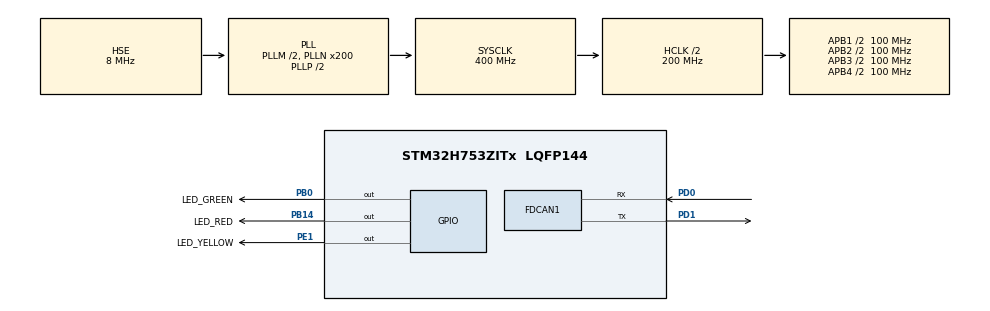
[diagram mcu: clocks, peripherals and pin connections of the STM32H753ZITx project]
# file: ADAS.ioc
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CORTEX_M7.CPU_DCache=Enabled
CORTEX_M7.CPU_ICache=Enabled
CORTEX_M7.default_mode_Activation=1
FDCAN1.AutoRetransmission=ENABLE
FDCAN1.CalculateBaudRateNominal=500000
FDCAN1.CalculateTimeBitNominal=2000
FDCAN1.CalculateTimeQuantumNominal=100.0
FDCAN1.DataPrescaler=2
FDCAN1.DataSyncJumpWidth=5
FDCAN1.DataTimeSeg1=7
FDCAN1.DataTimeSeg2=2
FDCAN1.FrameFormat=FDCAN_FRAME_FD_BRS
FDCAN1.Mode=FDCAN_MODE_NORMAL
FDCAN1.NominalPrescaler=10
FDCAN1.NominalTimeSeg1=15
FDCAN1.NominalTimeSeg2=4
FDCAN1.RxFifo0ElmtSize=FDCAN_DATA_BYTES_64
FDCAN1.RxFifo0ElmtsNbr=4
FDCAN1.StdFiltersNbr=1
FDCAN1.TxElmtSize=FDCAN_DATA_BYTES_64
FDCAN1.TxFifoQueueElmtsNbr=4
FREERTOS.Tasks01=ControlLoopTask,24,512,StartControlLoopTask,Default,NULL,Dynamic,NULL,NULL
FREERTOS.configTOTAL_HEAP_SIZE=65536
Mcu.Family=STM32H7
Mcu.Name=STM32H753ZITx
Mcu.Package=LQFP144
NVIC.PriorityGroup=NVIC_PRIORITYGROUP_4
NVIC.TIM6_DAC_IRQn=true\:15\:0\:false\:false\:true\:false\:false\:true\:true
NVIC.TimeBase=TIM6_DAC_IRQn
NVIC.TimeBaseIP=TIM6
PA13\ (JTMS/SWDIO).Mode=Serial_Wire
PA13\ (JTMS/SWDIO).Signal=DEBUG_JTMS-SWDIO
PA14\ (JTCK/SWCLK).Mode=Serial_Wire
PA14\ (JTCK/SWCLK).Signal=DEBUG_JTCK-SWCLK
PB0.GPIO_Label=LED_GREEN
PB0.Signal=GPIO_Output
PB14.GPIO_Label=LED_RED
PB14.Signal=GPIO_Output
PD0.Mode=FDCAN_Activate
PD0.Signal=FDCAN1_RX
PD1.Mode=FDCAN_Activate
PD1.Signal=FDCAN1_TX
PE1.GPIO_Label=LED_YELLOW
PE1.Signal=GPIO_Output
PH0-OSC_IN\ (PH0).Mode=HSE-External-Clock-Source
PH0-OSC_IN\ (PH0).Signal=RCC_OSC_IN
ProjectManager.HeapSize=0x200
ProjectManager.StackSize=0x400
ProjectManager.TargetToolchain=STM32CubeIDE
RCC.ADCFreq_Value=16125000
RCC.APB1Freq_Value=100000000
RCC.APB2Freq_Value=100000000
RCC.APB3Freq_Value=100000000
RCC.APB4Freq_Value=100000000
RCC.CortexFreq_Value=400000000
RCC.D1PPRE=RCC_APB3_DIV2
RCC.D2PPRE1=RCC_APB1_DIV2
RCC.D2PPRE2=RCC_APB2_DIV2
RCC.D3PPRE=RCC_APB4_DIV2
RCC.DIVM1=2
RCC.DIVN1=200
RCC.DIVQ1=8
RCC.HCLKFreq_Value=200000000
RCC.HPRE=RCC_HCLK_DIV2
RCC.HSE_VALUE=8000000
RCC.PLLFRACN=0
RCC.PLLSourceVirtual=RCC_PLLSOURCE_HSE
RCC.SYSCLKFreq_VALUE=400000000
RCC.SYSCLKSource=RCC_SYSCLKSOURCE_PLLCLK
RCC.Tim1Mul=2
RCC.USBFreq_Value=100000000
VP_FREERTOS_VS_CMSIS_V2.Mode=CMSIS_V2
VP_MEMORYMAP_VS_MEMORYMAP.Mode=CurAppReg
VP_SYS_VS_tim6.Mode=TIM6
board=custom

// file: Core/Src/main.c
/* USER CODE BEGIN Header */
/**
  ******************************************************************************
  * @file           : main.c
  * @brief          : Main program body
  ******************************************************************************
  * @attention
  *
  * Copyright (c) 2026 STMicroelectronics.
  * All rights reserved.
  *
  * This software is licensed under terms that can be found in the LICENSE file
  * in the root directory of this software component.
  * If no LICENSE file comes with this software, it is provided AS-IS.
  *
  ******************************************************************************
  */
/* USER CODE END Header */
#include "main.h"
#include "cmsis_os.h"
#include "fdcan.h"
#include "gpio.h"

void SystemClock_Config(void);
static void MPU_Config(void);
void MX_FREERTOS_Init(void);

int main(void)
{

  /* MPU Configuration--------------------------------------------------------*/
  MPU_Config();

  /* Enable the CPU Cache */

  /* Enable I-Cache---------------------------------------------------------*/
  SCB_EnableICache();

  /* Enable D-Cache---------------------------------------------------------*/
  SCB_EnableDCache();

  /* MCU Configuration--------------------------------------------------------*/

  /* Reset of all peripherals, Initializes the Flash interface and the Systick. */
  HAL_Init();

  /* Configure the system clock */
  SystemClock_Config();

  /* Initialize all configured peripherals */
  MX_GPIO_Init();
  MX_FDCAN1_Init();

  /* Init scheduler */
  osKernelInitialize();  /* Call init function for freertos objects (in cmsis_os2.c) */
  MX_FREERTOS_Init();

  /* Start scheduler */
  osKernelStart();

  /* We should never get here as control is now taken by the scheduler */

  /* Infinite loop */
  while (1)
  {

  }
}

void SystemClock_Config(void)
{
  RCC_OscInitTypeDef RCC_OscInitStruct = {0};
  RCC_ClkInitTypeDef RCC_ClkInitStruct = {0};

  /** Supply configuration update enable
  */
  HAL_PWREx_ConfigSupply(PWR_LDO_SUPPLY);

  /** Configure the main internal regulator output voltage
  */
  __HAL_PWR_VOLTAGESCALING_CONFIG(PWR_REGULATOR_VOLTAGE_SCALE1);

  while(!__HAL_PWR_GET_FLAG(PWR_FLAG_VOSRDY)) {}

  /** Initializes the RCC Oscillators according to the specified parameters
  * in the RCC_OscInitTypeDef structure.
  */
  RCC_OscInitStruct.OscillatorType = RCC_OSCILLATORTYPE_HSE;
  RCC_OscInitStruct.HSEState = RCC_HSE_BYPASS;
  RCC_OscInitStruct.PLL.PLLState = RCC_PLL_ON;
  RCC_OscInitStruct.PLL.PLLSource = RCC_PLLSOURCE_HSE;
  RCC_OscInitStruct.PLL.PLLM = 2;
  RCC_OscInitStruct.PLL.PLLN = 200;
  RCC_OscInitStruct.PLL.PLLP = 2;
  RCC_OscInitStruct.PLL.PLLQ = 8;
  RCC_OscInitStruct.PLL.PLLR = 2;
  RCC_OscInitStruct.PLL.PLLRGE = RCC_PLL1VCIRANGE_2;
  RCC_OscInitStruct.PLL.PLLVCOSEL = RCC_PLL1VCOWIDE;
  RCC_OscInitStruct.PLL.PLLFRACN = 0;
  if (HAL_RCC_OscConfig(&RCC_OscInitStruct) != HAL_OK)
  {
    Error_Handler();
  }

  /** Initializes the CPU, AHB and APB buses clocks
  */
  RCC_ClkInitStruct.ClockType = RCC_CLOCKTYPE_HCLK|RCC_CLOCKTYPE_SYSCLK
                              |RCC_CLOCKTYPE_PCLK1|RCC_CLOCKTYPE_PCLK2
                              |RCC_CLOCKTYPE_D3PCLK1|RCC_CLOCKTYPE_D1PCLK1;
  RCC_ClkInitStruct.SYSCLKSource = RCC_SYSCLKSOURCE_PLLCLK;
  RCC_ClkInitStruct.SYSCLKDivider = RCC_SYSCLK_DIV1;
  RCC_ClkInitStruct.AHBCLKDivider = RCC_HCLK_DIV2;
  RCC_ClkInitStruct.APB3CLKDivider = RCC_APB3_DIV2;
  RCC_ClkInitStruct.APB1CLKDivider = RCC_APB1_DIV2;
  RCC_ClkInitStruct.APB2CLKDivider = RCC_APB2_DIV2;
  RCC_ClkInitStruct.APB4CLKDivider = RCC_APB4_DIV2;

  if (HAL_RCC_ClockConfig(&RCC_ClkInitStruct, FLASH_LATENCY_2) != HAL_OK)
  {
    Error_Handler();
  }
}

 /* MPU Configuration */

void MPU_Config(void)
{
  MPU_Region_InitTypeDef MPU_InitStruct = {0};

  /* Disables the MPU */
  HAL_MPU_Disable();

  /** Initializes and configures the Region and the memory to be protected
  */
  MPU_InitStruct.Enable = MPU_REGION_ENABLE;
  MPU_InitStruct.Number = MPU_REGION_NUMBER0;
  MPU_InitStruct.BaseAddress = 0x0;
  MPU_InitStruct.Size = MPU_REGION_SIZE_4GB;
  MPU_InitStruct.SubRegionDisable = 0x87;
  MPU_InitStruct.TypeExtField = MPU_TEX_LEVEL0;
  MPU_InitStruct.AccessPermission = MPU_REGION_NO_ACCESS;
  MPU_InitStruct.DisableExec = MPU_INSTRUCTION_ACCESS_DISABLE;
  MPU_InitStruct.IsShareable = MPU_ACCESS_SHAREABLE;
  MPU_InitStruct.IsCacheable = MPU_ACCESS_NOT_CACHEABLE;
  MPU_InitStruct.IsBufferable = MPU_ACCESS_NOT_BUFFERABLE;

  HAL_MPU_ConfigRegion(&MPU_InitStruct);
  /* Enables the MPU */
  HAL_MPU_Enable(MPU_PRIVILEGED_DEFAULT);

}

void HAL_TIM_PeriodElapsedCallback(TIM_HandleTypeDef *htim)
{
  if (htim->Instance == TIM6)
  {
    HAL_IncTick();
  }
}

void Error_Handler(void)
{
  /* USER CODE BEGIN Error_Handler_Debug */
  /* User can add his own implementation to report the HAL error return state */
  __disable_irq();
  HAL_GPIO_WritePin(LED_RED_GPIO_Port, LED_RED_Pin, GPIO_PIN_SET);
  while (1)
  {
  }
  /* USER CODE END Error_Handler_Debug */
}

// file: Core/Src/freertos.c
/* USER CODE BEGIN Header */
/**
 ******************************************************************************
 * File Name          : freertos.c
 * Description        : Code for freertos applications
 ******************************************************************************
 * @attention
 *
 * Copyright (c) 2026 STMicroelectronics.
 * All rights reserved.
 *
 * This software is licensed under terms that can be found in the LICENSE file
 * in the root directory of this software component.
 * If no LICENSE file comes with this software, it is provided AS-IS.
 *
 ******************************************************************************
 */
/* USER CODE END Header */

#include "FreeRTOS.h"
#include "task.h"
#include "main.h"
#include "cmsis_os.h"

/* USER CODE BEGIN Includes */
#include "fdcan.h"
#include "acc_controller.h"
#include <string.h>
/* USER CODE END Includes */

/* USER CODE BEGIN Variables */

/* Zmienne diagnostyczne czasu wykonania pętli RTOS (DWT WCET Profiling) */
volatile uint32_t g_ulControlLoopCounter = 0U;
volatile uint32_t g_ulLastExecutionCycles = 0U;
volatile uint32_t g_ulMaxExecutionCycles = 0U;

/* Bufory i liczniki diagnostyczne komunikacji CAN FD */
volatile uint8_t g_ucCanRxData[64] = { 0U };
volatile uint32_t g_ulCanRxFrameCounter = 0U;
volatile FDCAN_ProtocolStatusTypeDef g_sCanProtocolStatus = { 0 };
volatile FDCAN_ErrorCountersTypeDef g_sCanErrorCounters = { 0 };

/* Główne struktury wejść i wyjść regulatora ACC (obserwowane w Live Expressions) */
volatile AccInputs_t g_sAccInputs = { 10000U, 0, 2000U, 0U };
volatile AccOutputs_t g_sAccOutputs = { 35.0f, 0.0f, 0.0f, 0.0f, ACC_ZONE_SAFE };

/* USER CODE END Variables */
/* Definitions for ControlLoopTask */
osThreadId_t ControlLoopTaskHandle;
const osThreadAttr_t ControlLoopTask_attributes = { .name = "ControlLoopTask",
		.stack_size = 512 * 4, .priority = (osPriority_t) osPriorityNormal, };

/* USER CODE BEGIN FunctionPrototypes */

/**
 * @brief Funkcja warstwy sprzętowej (BSP/HAL) sterująca diodami LED na płytce Nucleo
 * @param eZone Aktualna strefa bezpieczeństwa wyznaczona przez regulator ACC
 */
static void ACC_UpdateLeds(AccZoneState_t eZone) {
	switch (eZone) {
	case ACC_ZONE_SAFE:
		HAL_GPIO_WritePin(LED_GREEN_GPIO_Port, LED_GREEN_Pin, GPIO_PIN_SET);
		HAL_GPIO_WritePin(LED_YELLOW_GPIO_Port, LED_YELLOW_Pin, GPIO_PIN_RESET);
		HAL_GPIO_WritePin(LED_RED_GPIO_Port, LED_RED_Pin, GPIO_PIN_RESET);
		break;

	case ACC_ZONE_WARNING:
		HAL_GPIO_WritePin(LED_GREEN_GPIO_Port, LED_GREEN_Pin, GPIO_PIN_RESET);
		HAL_GPIO_WritePin(LED_YELLOW_GPIO_Port, LED_YELLOW_Pin, GPIO_PIN_SET);
		HAL_GPIO_WritePin(LED_RED_GPIO_Port, LED_RED_Pin, GPIO_PIN_RESET);
		break;

	case ACC_ZONE_CRITICAL:
		HAL_GPIO_WritePin(LED_GREEN_GPIO_Port, LED_GREEN_Pin, GPIO_PIN_RESET);
		HAL_GPIO_WritePin(LED_YELLOW_GPIO_Port, LED_YELLOW_Pin, GPIO_PIN_RESET);
		HAL_GPIO_WritePin(LED_RED_GPIO_Port, LED_RED_Pin, GPIO_PIN_SET);
		break;

	case ACC_ZONE_FAULT:
	default:
		HAL_GPIO_WritePin(LED_GREEN_GPIO_Port, LED_GREEN_Pin, GPIO_PIN_SET);
		HAL_GPIO_WritePin(LED_YELLOW_GPIO_Port, LED_YELLOW_Pin, GPIO_PIN_SET);
		HAL_GPIO_WritePin(LED_RED_GPIO_Port, LED_RED_Pin, GPIO_PIN_SET);
		break;
	}
}

/* USER CODE END FunctionPrototypes */

void StartControlLoopTask(void *argument);

void MX_FREERTOS_Init(void); /* (MISRA C 2004 rule 8.1) */

void MX_FREERTOS_Init(void) {

	/* Create the thread(s) */
	/* creation of ControlLoopTask */
	ControlLoopTaskHandle = osThreadNew(StartControlLoopTask, NULL,
			&ControlLoopTask_attributes);

}

/* USER CODE BEGIN Header_StartControlLoopTask */
/**
 * @brief  Główne zadanie czasu rzeczywistego realizujące pętlę HIL (Read -> Compute -> Write)
 * @param  argument: Not used
 * @retval None
 */
/* USER CODE END Header_StartControlLoopTask */
void StartControlLoopTask(void *argument) {
	/* USER CODE BEGIN StartControlLoopTask */

	/* 1. Inicjalizacja sprzętowego licznika cykli zegara DWT (pomiar WCET) */
	CoreDebug->DEMCR |= CoreDebug_DEMCR_TRCENA_Msk;
	DWT->CYCCNT = 0U;
	DWT->CTRL |= DWT_CTRL_CYCCNTENA_Msk;

	/* 2. Konfiguracja nagłówka ramki nadawczej CAN FD (ID = 0x100, 64 bajty, BRS = ON) */
	FDCAN_TxHeaderTypeDef sTxHeader = { 0 };
	sTxHeader.Identifier = 0x100U;
	sTxHeader.IdType = FDCAN_STANDARD_ID;
	sTxHeader.TxFrameType = FDCAN_DATA_FRAME;
	sTxHeader.DataLength = FDCAN_DLC_BYTES_64;
	sTxHeader.ErrorStateIndicator = FDCAN_ESI_ACTIVE;
	sTxHeader.BitRateSwitch = FDCAN_BRS_ON;
	sTxHeader.FDFormat = FDCAN_FD_CAN;
	sTxHeader.TxEventFifoControl = FDCAN_NO_TX_EVENTS;
	sTxHeader.MessageMarker = 0U;

	/* 3. Konfiguracja filtra odbiorczego nr 0 (ID 0x000..0x7FF -> RX FIFO0) */
	FDCAN_FilterTypeDef sFilterConfig = { 0 };
	sFilterConfig.IdType = FDCAN_STANDARD_ID;
	sFilterConfig.FilterIndex = 0U;
	sFilterConfig.FilterType = FDCAN_FILTER_RANGE;
	sFilterConfig.FilterConfig = FDCAN_FILTER_TO_RXFIFO0;
	sFilterConfig.FilterID1 = 0x000U;
	sFilterConfig.FilterID2 = 0x7FFU;
	(void) HAL_FDCAN_ConfigFilter(&hfdcan1, &sFilterConfig);

	/* 4. Uruchomienie kontrolera FDCAN1 w trybie Normal Mode */
	(void) HAL_FDCAN_Start(&hfdcan1);

	const uint32_t kPeriodTicks = ACC_CONTROL_PERIOD_MS; /* Okres pętli: 250 ms (częstotliwość 4 Hz) */
	uint32_t ulWakeTick = osKernelGetTickCount();

	/* Infinite loop */
	for (;;) {
		/* Pomiar startu kroku obliczeniowego */
		uint32_t ulStartCycles = DWT->CYCCNT;

		/* --- POCZĄTEK SEKCJI KRYTYCZNEJ KROKU STEROWANIA --- */

		/* ====================================================================
		 * KROK 1: WEJŚCIA (RX) - Nadzór Timeoutu i opróżnienie kolejki RX FIFO0
		 * ==================================================================== */

		/* Inkrementacja z nasyceniem (ochrona przed przekręceniem licznika uint32_t) */
		if (g_sAccInputs.ulRxTimeoutCounter <= ACC_MAX_RX_TIMEOUT_STEPS) {
			g_sAccInputs.ulRxTimeoutCounter++;
		}

		while (HAL_FDCAN_GetRxFifoFillLevel(&hfdcan1, FDCAN_RX_FIFO0) > 0U) {
			FDCAN_RxHeaderTypeDef sRxHeader;
			static uint8_t ucTempRx[64];

			if (HAL_FDCAN_GetRxMessage(&hfdcan1, FDCAN_RX_FIFO0, &sRxHeader,
					ucTempRx) == HAL_OK) {

				/* Deserializacja sygnałów pomiarowych (Little-Endian) z ramki 0x200 */
				if (sRxHeader.Identifier == 0x200U) {
					g_sAccInputs.ulRxTimeoutCounter = 0U;

					/* Bajty 0..1: Dystans radaru uint16_t [cm] */
					g_sAccInputs.usRadarDistanceCm =
							(uint16_t) (((uint16_t) ucTempRx[1] << 8U)
									| (uint16_t) ucTempRx[0]);

					/* Bajty 2..3: Prędkość względna int16_t [cm/s] (kod U2) */
					g_sAccInputs.sRelativeVelocityCms =
							(int16_t) (((uint16_t) ucTempRx[3] << 8U)
									| (uint16_t) ucTempRx[2]);

					/* Bajty 4..5: Prędkość własna pojazdu uint16_t [cm/s] */
					g_sAccInputs.usEgoVelocityCms =
							(uint16_t) (((uint16_t) ucTempRx[5] << 8U)
									| (uint16_t) ucTempRx[4]);
				}

				/* Kopia diagnostyczna wszystkich 64 bajtów do Live Expressions */
				for (uint32_t i = 0U; i < 64U; i++) {
					g_ucCanRxData[i] = ucTempRx[i];
				}
				g_ulCanRxFrameCounter++;
			}
		}

		/* ====================================================================
		 * KROK 2: OBLICZENIA (COMPUTE) - Wywołanie modułu regulatora ACC
		 * ==================================================================== */
		ACC_ComputeStep(&g_sAccInputs, &g_sAccOutputs);

		/* ====================================================================
		 * KROK 3: WYJŚCIA (TX & GPIO) - Sygnalizacja LED i wysyłka ramki 0x100
		 * ==================================================================== */
		ACC_UpdateLeds(g_sAccOutputs.eCurrentZone);

		static uint8_t ucTxData[64] = { 0U };

		/* Bajty 0..1: Aktualny dystans uint16_t w cm (Little-Endian: LSB, MSB) */
		ucTxData[0] = (uint8_t) (g_sAccInputs.usRadarDistanceCm & 0xFFU);
		ucTxData[1] =
				(uint8_t) ((g_sAccInputs.usRadarDistanceCm >> 8U) & 0xFFU);

		/* Bajt 2: Strefa bezpieczeństwa ACC (enum: 0..3) */
		ucTxData[2] = (uint8_t) g_sAccOutputs.eCurrentZone;

		/* Bajt 3: Licznik życia (Alive Counter 0..255) */
		ucTxData[3] = (uint8_t) (g_ulControlLoopCounter & 0xFFU);

		/* Bajty 4..7: Zadane przyspieszenie po ograniczniku zrywu float [m/s^2] */
		float fAccelTemp = g_sAccOutputs.fDesiredAccelMps2;
		(void) memcpy(&ucTxData[4], &fAccelTemp, sizeof(float));

		/* Bajty 8..11: Dynamiczny dystans zadany CTH float [m] */
		float fTargetDistTemp = g_sAccOutputs.fTargetDistanceMeters;
		(void) memcpy(&ucTxData[8], &fTargetDistTemp, sizeof(float));

		/* Bajty 62..63: Znacznik kontrolny końca 64-bajtowej ramki CAN FD */
		ucTxData[62] = 0xCAU;
		ucTxData[63] = 0xFEU;

		(void) HAL_FDCAN_AddMessageToTxFifoQ(&hfdcan1, &sTxHeader, ucTxData);

		/* Diagnostyka statusu protokołu i liczników błędów FDCAN */
		FDCAN_ProtocolStatusTypeDef sTempStatus;
		FDCAN_ErrorCountersTypeDef sTempErrors;
		if (HAL_FDCAN_GetProtocolStatus(&hfdcan1, &sTempStatus) == HAL_OK) {
			g_sCanProtocolStatus = sTempStatus;
		}
		if (HAL_FDCAN_GetErrorCounters(&hfdcan1, &sTempErrors) == HAL_OK) {
			g_sCanErrorCounters = sTempErrors;
		}

		g_ulControlLoopCounter++;

		/* --- KONIEC SEKCJI KRYTYCZNEJ KROKU STEROWANIA --- */

		/* Obliczenie liczby cykli zegara zużytych na wykonanie kroku i detekcja WCET */
		g_ulLastExecutionCycles = DWT->CYCCNT - ulStartCycles;
		if (g_ulLastExecutionCycles > g_ulMaxExecutionCycles) {
			g_ulMaxExecutionCycles = g_ulLastExecutionCycles;
		}

		/* Bezwzględne uśpienie do kolejnego wielokrotnego punktu czasu kPeriodTicks */
		ulWakeTick += kPeriodTicks;
		osDelayUntil(ulWakeTick);
	}
	/* USER CODE END StartControlLoopTask */
}
